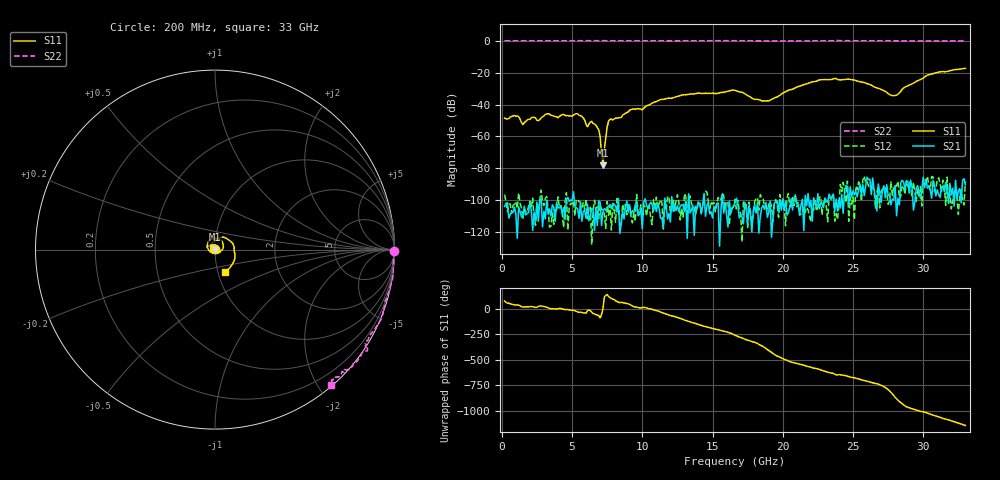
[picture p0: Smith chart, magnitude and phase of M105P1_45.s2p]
# GHZ S RI R 50
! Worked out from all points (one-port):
!   329 points, 200 MHz to 33 GHz, reference 50 ohm
!   lowest |S11| = -78.2 dB at 7.2 GHz (marker M1), VSWR 1.00, Z = 50 + j0.00038 ohm
!   |S11| at or under -10 dB: start of sweep to end of sweep
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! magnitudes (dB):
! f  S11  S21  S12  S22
! 200 MHz  -48.6  -103.9  -96.5  0.0
! 1.1 GHz  -47.2  -123.8  -105.2  0.0
! 1.5 GHz  -52.6  -111.0  -111.6  0.0
! 3.2 GHz  -45.9  -99.9  -97.8  0.0
! 5.7 GHz  -47.4  -113.2  -104.4  0.0
! 6.1 GHz  -54.0  -102.6  -111.7  0.0
! 6.4 GHz  -50.6  -105.3  -127.9  0.0
! 6.9 GHz  -55.7  -100.5  -111.5  0.0
! 7 GHz  -60.2  -101.2  -102.5  0.0
! 7.2 GHz  -78.2  -107.1  -105.9  0.0
! 7.3 GHz  -68.2  -105.3  -108.7  0.0
! 7.5 GHz  -54.1  -104.5  -100.9  0.0
! 7.7 GHz  -49.3  -103.0  -102.9  0.0
! 11.2 GHz  -37.3  -105.3  -102.0  -0.1
! 16.6 GHz  -31.1  -101.8  -99.6  0.0
! 19 GHz  -37.7  -107.7  -102.6  -0.1
! 22.1 GHz  -25.8  -113.3  -106.3  -0.1
! 25.1 GHz  -24.7  -96.6  -112.3  0.0
! 27.6 GHz  -33.7  -97.1  -100.6  0.0
! 28.1 GHz  -34.2  -109.7  -90.9  0.0
! 30.3 GHz  -21.5  -92.4  -85.1  -0.1
! 33 GHz  -17.3  -90.3  -88.3  -0.1
